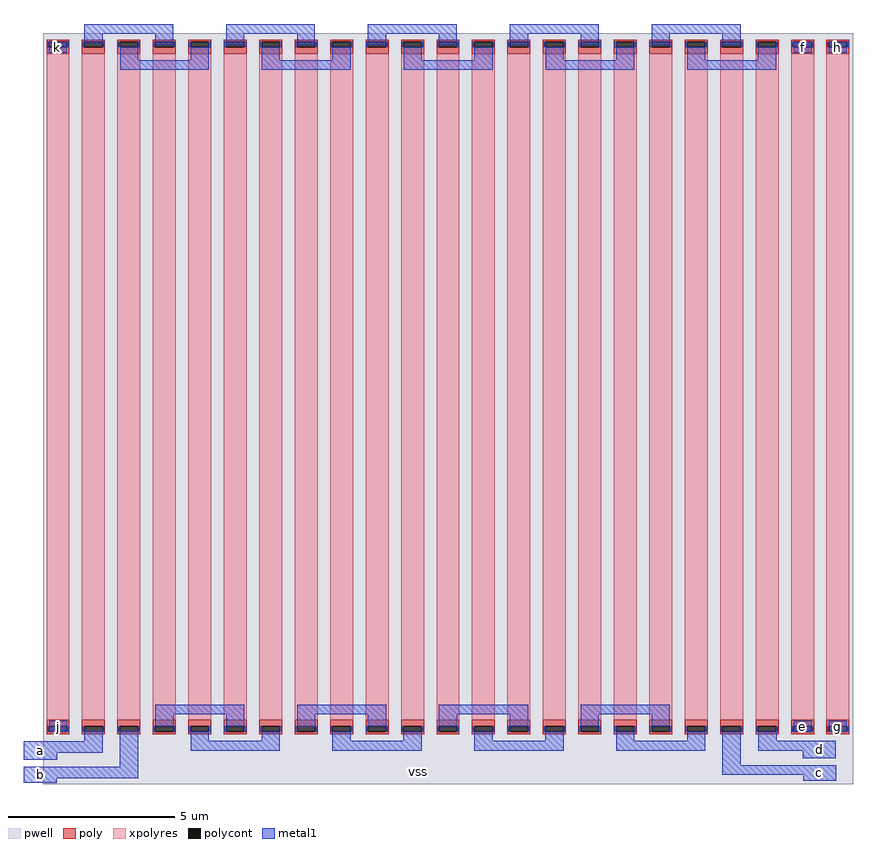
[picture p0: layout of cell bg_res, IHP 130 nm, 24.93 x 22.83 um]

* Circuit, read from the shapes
.subckt bg_res b a d c vss e f g h j k
XR1 k j xpolyres w=0.69u l=20u
XR2 XR1_1/R1 a xpolyres w=0.69u l=20u
XR3 XR1_2/R1 b xpolyres w=0.69u l=20u
XR4 XR1_1/R1 XR1_3/R2 xpolyres w=0.69u l=20u
XR5 XR1_2/R1 XR1_4/R2 xpolyres w=0.69u l=20u
XR6 XR1_5/R1 XR1_3/R2 xpolyres w=0.69u l=20u
XR7 XR1_6/R1 XR1_4/R2 xpolyres w=0.69u l=20u
XR8 XR1_5/R1 XR1_7/R2 xpolyres w=0.69u l=20u
XR9 XR1_6/R1 XR1_10/R2 xpolyres w=0.69u l=20u
XR10 XR1_11/R1 XR1_7/R2 xpolyres w=0.69u l=20u
XR11 XR1_10/R1 XR1_10/R2 xpolyres w=0.69u l=20u
XR12 XR1_11/R1 XR1_11/R2 xpolyres w=0.69u l=20u
XR13 XR1_10/R1 XR1_12/R2 xpolyres w=0.69u l=20u
XR14 XR1_13/R1 XR1_11/R2 xpolyres w=0.69u l=20u
XR15 XR1_14/R1 XR1_12/R2 xpolyres w=0.69u l=20u
XR16 XR1_13/R1 XR1_15/R2 xpolyres w=0.69u l=20u
XR17 XR1_14/R1 XR1_16/R2 xpolyres w=0.69u l=20u
XR18 XR1_17/R1 XR1_15/R2 xpolyres w=0.69u l=20u
XR19 XR1_18/R1 XR1_16/R2 xpolyres w=0.69u l=20u
XR20 XR1_17/R1 c xpolyres w=0.69u l=20u
XR21 XR1_18/R1 d xpolyres w=0.69u l=20u
XR22 f e xpolyres w=0.69u l=20u
XR23 h g xpolyres w=0.69u l=20u
.ends

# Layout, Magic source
magic
tech ihp-sg13cmos5l
magscale 1 2
<< pwell >>
rect -19 -1900 4848 2610
<< metal1 >>
rect 227 2607 761 2666
rect 14 2492 122 2558
rect 227 2551 337 2607
rect 653 2542 761 2607
rect 1079 2607 1613 2666
rect 1079 2542 1189 2607
rect 1505 2542 1613 2607
rect 1931 2607 2465 2666
rect 1931 2542 2041 2607
rect 2357 2542 2465 2607
rect 2783 2607 3317 2666
rect 2783 2542 2893 2607
rect 3209 2542 3317 2607
rect 3635 2607 4171 2666
rect 3635 2542 3745 2607
rect 4061 2542 4171 2607
rect 442 2449 550 2526
rect 866 2449 976 2526
rect 442 2390 976 2449
rect 1294 2449 1402 2526
rect 1718 2449 1828 2526
rect 1294 2390 1828 2449
rect 2146 2449 2254 2526
rect 2570 2449 2680 2526
rect 2146 2390 2680 2449
rect 2998 2449 3106 2526
rect 3422 2449 3532 2526
rect 2998 2390 3532 2449
rect 3850 2449 3958 2526
rect 4274 2449 4384 2526
rect 4488 2492 4596 2558
rect 4700 2492 4808 2558
rect 3850 2390 4384 2449
rect 653 -1482 1189 -1423
rect 16 -1586 124 -1520
rect 653 -1554 763 -1482
rect 1079 -1554 1189 -1482
rect 1505 -1482 2041 -1423
rect 1505 -1557 1615 -1482
rect 1931 -1554 2041 -1482
rect 2357 -1482 2893 -1423
rect 2357 -1554 2467 -1482
rect 2783 -1554 2893 -1482
rect 3209 -1482 3745 -1423
rect 3209 -1554 3319 -1482
rect 3635 -1554 3745 -1482
rect 228 -1644 337 -1583
rect -136 -1713 337 -1644
rect -136 -1753 64 -1713
rect 440 -1795 550 -1583
rect 866 -1641 976 -1585
rect 1292 -1641 1402 -1586
rect 866 -1700 1402 -1641
rect 1718 -1641 1828 -1585
rect 2144 -1641 2254 -1585
rect 1718 -1700 2254 -1641
rect 2570 -1641 2680 -1585
rect 2996 -1641 3106 -1585
rect 2570 -1700 3106 -1641
rect 3422 -1641 3532 -1585
rect 3848 -1641 3958 -1585
rect 3422 -1700 3958 -1641
rect -138 -1864 550 -1795
rect 4061 -1786 4171 -1585
rect 4276 -1641 4386 -1585
rect 4488 -1586 4596 -1520
rect 4700 -1586 4808 -1520
rect 4276 -1700 4743 -1641
rect 4543 -1744 4743 -1700
rect 4061 -1845 4745 -1786
rect -138 -1891 62 -1864
rect 4545 -1879 4745 -1845
use rhigh_SUDY2Y  XR1 paramcells
array 0 22 213 0 0 4172
transform 1 0 69 0 1 486
box -69 -2086 69 2086
<< labels >>
flabel metal1 -136 -1753 64 -1644 0 FreeSans 640 0 0 0 a
port 1 nsew
flabel metal1 4543 -1744 4743 -1641 0 FreeSans 640 0 0 0 d
port 2 nsew
flabel metal1 4545 -1879 4745 -1786 0 FreeSans 640 0 0 0 c
port 3 nsew
flabel metal1 -138 -1891 62 -1795 0 FreeSans 640 0 0 0 b
port 0 nsew
flabel pwell 2137 -1883 2337 -1770 0 FreeSans 1600 0 0 0 vss
port 4 nsew
flabel metal1 4488 -1586 4596 -1520 0 FreeSans 640 0 0 0 e
port 5 nsew
flabel metal1 4488 2492 4596 2558 0 FreeSans 640 0 0 0 f
port 6 nsew
flabel metal1 4700 -1586 4808 -1520 0 FreeSans 640 0 0 0 g
port 7 nsew
flabel metal1 4700 2492 4808 2558 0 FreeSans 640 0 0 0 h
port 8 nsew
flabel metal1 16 -1586 124 -1520 0 FreeSans 640 0 0 0 j
port 9 nsew
flabel metal1 14 2492 122 2558 0 FreeSans 640 0 0 0 k
port 10 nsew
<< end >>

# cell rhigh_SUDY2Y: kit device rhigh, w 0.69 l 20.0 m 1 nx 1 wmin 0.50 lmin 0.50 class resistor rho 1360 val 39.42k dummy 0 dw 0.0 term 0.0 sterm 0.0 caplen 0 bar 1 guard 0 glc 1 grc 1 gtc 1 gbc 1 snake 0 full_metal 1 n_guard 0 hv_guard 0 vias 0 viagb 0 viagt 0 viagl 0 viagr 0 doports 1
